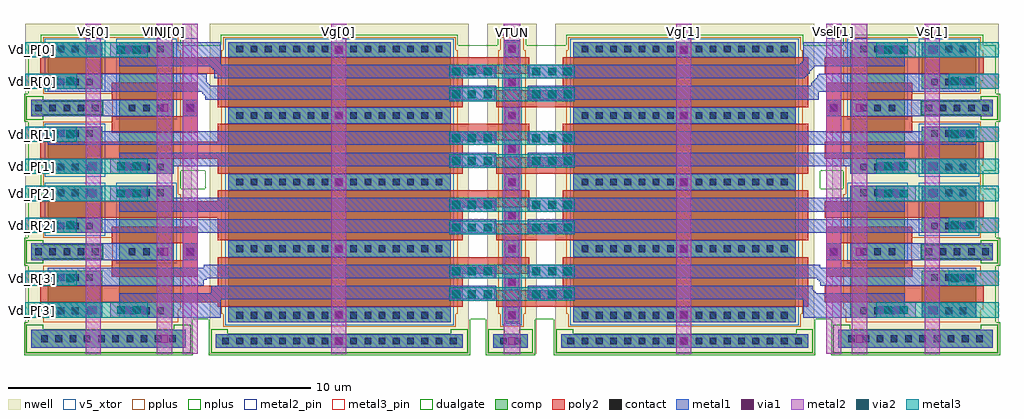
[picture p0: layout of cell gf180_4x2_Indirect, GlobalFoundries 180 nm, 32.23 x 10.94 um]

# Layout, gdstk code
import gdstk
lib = gdstk.Library(unit=1e-6, precision=1e-09)
def R(c, l, rs):  # rectangles x0, y0, x1, y1
    for r in rs: c.add(gdstk.rectangle(r[:2], r[2:], *l))
def A(c, l, x, y, w, h, nx, ny, dx, dy):  # array of equal rectangles
    R(c, l, [(x+i*dx, y+j*dy, x+i*dx+w, y+j*dy+h) for i in range(nx) for j in range(ny)])
nwell = (21, 0)
comp = (22, 0)
poly2 = (30, 0)
pplus = (31, 0)
nplus = (32, 0)
contact = (33, 0)
metal1 = (34, 0)
via1 = (35, 0)
metal2 = (36, 0)
metal2_pin = (36, 10)
via2 = (38, 0)
metal3 = (42, 0)
metal3_pin = (42, 10)
dualgate = (55, 0)
v5_xtor = (112, 1)

gf180_4x2_indirect = lib.new_cell('gf180_4x2_Indirect')
R(gf180_4x2_indirect, nwell, [(-1.05,-0.8,4.45,10.1), (5.05,-0.8,13.6,10.1), (14.2,-0.8,15.85,10.1), (16.45,-0.8,25,10.1), (25.6,-0.8,31.1,10.1)])
R(gf180_4x2_indirect, comp, [(-0.85,-0.6,4.25,0), (5.25,-0.6,13.4,-0.15), (14.4,-0.6,15.55,-0.15), (16.65,-0.6,24.8,-0.15), (25.8,-0.6,30.9,0), (5.65,0.25,13,9.5), (14.8,0.25,15.25,9.5), (17.05,0.25,24.4,9.5), (-0.3,0.4,1.5,1.95), (2.05,0.4,3.85,4.75), (26.2,0.4,28,4.75), (28.55,0.4,30.35,1.95), (-0.85,2.35,1.5,2.8), (28.55,2.35,30.9,2.8), (-0.3,3.2,1.5,4.75), (28.55,3.2,30.35,4.75), (-0.3,5.15,1.5,6.7), (2.05,5.15,3.85,9.5), (26.2,5.15,28,9.5), (28.55,5.15,30.35,6.7), (-0.85,7.1,1.5,7.55), (28.55,7.1,30.9,7.55), (-0.3,7.95,1.5,9.5), (28.55,7.95,30.35,9.5)])
A(gf180_4x2_indirect, poly2, 14.5, 0.75, 10.3, 0.55, 1, 4, 0, 2.2)
A(gf180_4x2_indirect, poly2, 16.7, 1.3, 8.1, 1.1, 1, 4, 0, 2.2)
R(gf180_4x2_indirect, poly2, [(5.3,0.75,13.4,0.9), (-0.55,0.9,13.4,1.45), (25.35,0.9,30.6,1.45), (5.3,1.45,13.4,1.85), (1.8,1.75,4.65,2.3), (25.4,1.75,28.25,2.3), (5.3,1.85,15.6,2.4), (4.15,2.3,4.65,2.85), (25.4,2.3,25.9,2.85), (1.8,2.85,4.65,3.4), (25.4,2.85,28.25,3.4), (5.3,2.95,13.4,3.7), (-0.55,3.7,13.4,4.05), (25.35,3.7,30.6,4.25), (-0.55,4.05,15.6,4.25), (5.3,4.25,15.6,4.6), (5.3,5.15,13.4,5.65), (-0.55,5.65,13.4,6.2), (25.35,5.65,30.6,6.2), (5.3,6.2,13.4,6.25), (5.3,6.25,15.6,6.8), (1.8,6.5,4.65,7.05), (25.4,6.5,28.25,7.05), (4.15,7.05,4.65,7.6), (25.4,7.05,25.9,7.6), (5.3,7.35,13.4,8.45), (1.8,7.6,4.65,8.15), (25.4,7.6,28.25,8.15), (-0.55,8.45,15.6,9), (25.35,8.45,30.6,9)])
R(gf180_4x2_indirect, pplus, [(5.49,0.09,13.16,0.52), (14.64,0.09,15.41,0.52), (16.89,0.09,24.56,0.52), (-0.46,0.24,4.01,0.67), (26.04,0.24,30.51,0.67), (5.42,0.52,13.23,9.23), (14.57,0.52,15.48,9.23), (16.82,0.52,24.63,9.23), (-0.53,0.67,4.08,1.68), (25.97,0.67,30.58,1.68), (-0.46,1.68,4.08,2.11), (25.97,1.68,30.51,2.11), (1.82,2.11,4.08,3.04), (25.97,2.11,28.23,3.04), (-0.46,3.04,4.08,3.47), (25.97,3.04,30.51,3.47), (-0.53,3.47,4.08,4.48), (25.97,3.47,30.58,4.48), (-0.46,4.48,4.01,5.42), (26.04,4.48,30.51,5.42), (-0.53,5.42,4.08,6.43), (25.97,5.42,30.58,6.43), (-0.46,6.43,4.08,6.86), (25.97,6.43,30.51,6.86), (1.82,6.86,4.08,7.79), (25.97,6.86,28.23,7.79), (-0.46,7.79,4.08,8.22), (25.97,7.79,30.51,8.22), (-0.53,8.22,4.08,9.23), (25.97,8.22,30.58,9.23), (-0.46,9.23,4.01,9.66), (5.49,9.23,13.16,9.66), (14.64,9.23,15.41,9.66), (16.89,9.23,24.56,9.66), (26.04,9.23,30.51,9.66)])
R(gf180_4x2_indirect, nplus, [(-1.01,-0.76,4.41,0.02), (5.09,-0.76,13.56,-0.13), (14.24,-0.76,15.71,-0.13), (16.49,-0.76,24.96,-0.13), (25.64,-0.76,31.06,0.02), (5.09,-0.13,5.64,0.01), (13.01,-0.13,13.56,0.01), (14.24,-0.13,14.79,0.01), (15.26,-0.13,15.71,0.01), (16.49,-0.13,17.04,0.01), (24.41,-0.13,24.96,0.01), (-1.01,0.02,-0.46,0.16), (3.86,0.02,4.41,0.16), (25.64,0.02,26.19,0.16), (30.51,0.02,31.06,0.16), (-1.01,2.19,-0.46,2.33), (30.51,2.19,31.06,2.33), (-1.01,2.33,1.52,2.82), (28.53,2.33,31.06,2.82), (-1.01,2.82,-0.46,2.96), (30.51,2.82,31.06,2.96), (-1.01,6.94,-0.46,7.08), (30.51,6.94,31.06,7.08), (-1.01,7.08,1.52,7.57), (28.53,7.08,31.06,7.57), (-1.01,7.57,-0.46,7.71), (30.51,7.57,31.06,7.71)])
A(gf180_4x2_indirect, contact, 5.455, -0.485, 0.22, 0.22, 17, 1, 0.47, 0)
A(gf180_4x2_indirect, contact, 16.855, -0.485, 0.22, 0.22, 17, 1, 0.47, 0)
A(gf180_4x2_indirect, contact, -0.525, -0.41, 0.22, 0.22, 10, 1, 0.47, 0)
A(gf180_4x2_indirect, contact, 26.125, -0.41, 0.22, 0.22, 10, 1, 0.47, 0)
A(gf180_4x2_indirect, contact, 5.925, 0.365, 0.22, 0.22, 15, 5, 0.47, 2.2)
A(gf180_4x2_indirect, contact, 14.915, 0.365, 0.22, 0.22, 1, 9, 0, 1.1)
A(gf180_4x2_indirect, contact, 17.325, 0.365, 0.22, 0.22, 15, 5, 0.47, 2.2)
A(gf180_4x2_indirect, contact, 0.02, 0.515, 0.22, 0.22, 3, 2, 0.47, 1.1)
A(gf180_4x2_indirect, contact, 2.37, 0.515, 0.22, 0.22, 3, 3, 0.47, 1.95)
A(gf180_4x2_indirect, contact, 26.52, 0.515, 0.22, 0.22, 3, 3, 0.47, 1.95)
A(gf180_4x2_indirect, contact, 28.87, 0.515, 0.22, 0.22, 3, 2, 0.47, 1.1)
A(gf180_4x2_indirect, contact, -0.725, 2.465, 0.22, 0.22, 5, 2, 0.47, 4.75)
A(gf180_4x2_indirect, contact, 28.675, 2.465, 0.22, 0.22, 5, 2, 0.47, 4.75)
A(gf180_4x2_indirect, contact, 0.02, 3.315, 0.22, 0.22, 3, 2, 0.47, 1.1)
A(gf180_4x2_indirect, contact, 28.87, 3.315, 0.22, 0.22, 3, 2, 0.47, 1.1)
A(gf180_4x2_indirect, contact, 0.02, 5.265, 0.22, 0.22, 3, 2, 0.47, 1.1)
A(gf180_4x2_indirect, contact, 2.37, 5.265, 0.22, 0.22, 3, 3, 0.47, 1.95)
A(gf180_4x2_indirect, contact, 26.52, 5.265, 0.22, 0.22, 3, 3, 0.47, 1.95)
A(gf180_4x2_indirect, contact, 28.87, 5.265, 0.22, 0.22, 3, 2, 0.47, 1.1)
A(gf180_4x2_indirect, contact, 0.02, 8.065, 0.22, 0.22, 3, 2, 0.47, 1.1)
A(gf180_4x2_indirect, contact, 28.87, 8.065, 0.22, 0.22, 3, 2, 0.47, 1.1)
R(gf180_4x2_indirect, contact, [(14.63,-0.485,14.85,-0.265), (15.1,-0.485,15.32,-0.265), (4.29,2.465,4.51,2.685), (25.54,2.465,25.76,2.685), (4.29,7.215,4.51,7.435), (25.54,7.215,25.76,7.435)])
A(gf180_4x2_indirect, metal1, 14.75, 0.2, 0.55, 0.55, 1, 9, 0, 1.1)
A(gf180_4x2_indirect, metal1, 5.65, 2.4, 7.35, 0.55, 1, 3, 0, 2.2)
A(gf180_4x2_indirect, metal1, 17.05, 2.4, 7.35, 0.55, 1, 3, 0, 2.2)
R(gf180_4x2_indirect, metal1, [(-0.85,-0.6,4.25,0), (5.25,-0.6,13.4,-0.15), (14.4,-0.6,15.55,-0.15), (16.65,-0.6,24.8,-0.15), (25.8,-0.6,30.9,0), (5.65,0.25,13,0.75), (17.05,0.25,24.4,0.75), (-0.3,0.4,1.5,0.9), (2.05,0.4,5.4,1), (24.65,0.4,28,1), (28.55,0.4,30.35,0.9), (2.05,1,14.5,1.2), (15.55,1,28,1.2), (5.1,1.2,14.5,1.45), (15.55,1.2,25.05,1.25), (15.55,1.25,25,1.3), (15.55,1.3,24.95,1.45), (-0.3,1.45,4.85,1.65), (25.2,1.45,30.35,1.6), (25.15,1.6,30.35,1.65), (-0.3,1.65,4.95,1.7), (25.1,1.65,30.35,1.7), (-0.3,1.7,14.5,2.05), (15.55,1.7,30.35,2.05), (4.85,2.05,14.5,2.15), (15.55,2.05,25.2,2.15), (-0.85,2.3,3.85,2.85), (4.15,2.3,4.65,2.85), (25.4,2.3,25.9,2.85), (26.2,2.3,30.9,2.85), (-0.3,3.2,14.5,3.65), (15.55,3.2,30.35,3.65), (-0.3,3.65,1.5,3.7), (28.55,3.65,30.35,3.7), (2.05,3.9,14.5,4.35), (15.55,3.9,28,4.35), (-0.3,4.25,1.5,4.75), (28.55,4.25,30.35,4.75), (2.05,4.35,3.85,4.75), (26.2,4.35,28,4.75), (-0.3,5.15,1.5,5.65), (2.05,5.15,3.85,5.4), (26.2,5.15,28,5.4), (28.55,5.15,30.35,5.65), (2.05,5.4,14.5,5.85), (15.55,5.4,28,5.85), (-0.3,6.1,14.5,6.55), (15.55,6.1,30.35,6.55), (-0.3,6.55,1.5,6.7), (28.55,6.55,30.35,6.7), (-0.85,7.05,3.85,7.6), (4.15,7.05,4.65,7.6), (25.4,7.05,25.9,7.6), (26.2,7.05,30.9,7.6), (4.9,7.6,14.5,7.75), (15.55,7.6,25.15,7.85), (4.85,7.75,14.5,7.8), (4.8,7.8,14.5,7.85), (-0.3,7.85,14.5,8.05), (15.55,7.85,30.35,8.05), (-0.3,8.05,5.05,8.1), (24.9,8.05,30.35,8.15), (-0.3,8.1,5,8.15), (-0.3,8.15,4.95,8.45), (24.95,8.15,30.35,8.2), (25,8.2,30.35,8.25), (25.05,8.25,30.35,8.3), (5.2,8.3,14.5,8.6), (15.55,8.3,24.7,8.35), (25.1,8.3,30.35,8.4), (15.55,8.35,24.75,8.4), (15.55,8.4,24.8,8.45), (25.15,8.4,30.35,8.45), (15.55,8.45,24.85,8.55), (15.55,8.55,24.9,8.6), (5.15,8.6,14.5,8.65), (15.55,8.6,24.95,8.65), (5.1,8.65,14.5,8.7), (15.55,8.65,25,8.7), (2.05,8.7,14.5,8.75), (15.55,8.7,28,8.75), (2.05,8.75,5.4,9.5), (24.55,8.75,28,8.8), (24.6,8.8,28,8.85), (24.65,8.85,28,9.5), (-0.3,9,1.5,9.5), (5.65,9,13,9.5), (17.05,9,24.4,9.5), (28.55,9,30.35,9.5)])
A(gf180_4x2_indirect, via1, 14.895, 0.345, 0.26, 0.26, 1, 9, 0, 1.1)
A(gf180_4x2_indirect, via1, 13.05, 1.045, 0.26, 0.26, 3, 2, 0.52, 0.75)
A(gf180_4x2_indirect, via1, 15.7, 1.045, 0.26, 0.26, 3, 2, 0.52, 0.75)
A(gf180_4x2_indirect, via1, 9.17, 2.545, 0.26, 0.26, 1, 3, 0, 2.2)
A(gf180_4x2_indirect, via1, 20.57, 2.545, 0.26, 0.26, 1, 3, 0, 2.2)
A(gf180_4x2_indirect, via1, 13.05, 3.245, 0.26, 0.26, 3, 2, 0.52, 0.75)
A(gf180_4x2_indirect, via1, 15.7, 3.245, 0.26, 0.26, 3, 2, 0.52, 0.75)
A(gf180_4x2_indirect, via1, 13.05, 5.445, 0.26, 0.26, 3, 2, 0.52, 0.75)
A(gf180_4x2_indirect, via1, 15.7, 5.445, 0.26, 0.26, 3, 2, 0.52, 0.75)
A(gf180_4x2_indirect, via1, 13.05, 7.645, 0.26, 0.26, 3, 2, 0.52, 0.75)
A(gf180_4x2_indirect, via1, 15.7, 7.645, 0.26, 0.26, 3, 2, 0.52, 0.75)
R(gf180_4x2_indirect, via1, [(9.17,-0.505,9.43,-0.245), (14.895,-0.505,15.155,-0.245), (20.57,-0.505,20.83,-0.245), (3.42,-0.43,3.68,-0.17), (26.37,-0.43,26.63,-0.17), (9.17,0.37,9.43,0.63), (20.57,0.37,20.83,0.63), (1.045,0.52,1.305,0.78), (2.135,0.52,2.395,0.78), (2.655,0.52,2.915,0.78), (27.135,0.52,27.395,0.78), (27.655,0.52,27.915,0.78), (28.77,0.52,29.03,0.78), (-0.215,1.57,0.045,1.83), (0.305,1.57,0.565,1.83), (29.51,1.57,29.77,1.83), (30.03,1.57,30.29,1.83), (3.42,2.445,3.68,2.705), (4.27,2.445,4.53,2.705), (25.52,2.445,25.78,2.705), (26.37,2.445,26.63,2.705), (-0.215,3.32,0.045,3.58), (0.305,3.32,0.565,3.58), (29.51,3.32,29.77,3.58), (30.03,3.32,30.29,3.58), (1.045,4.37,1.305,4.63), (2.135,4.37,2.395,4.63), (2.655,4.37,2.915,4.63), (27.135,4.37,27.395,4.63), (27.655,4.37,27.915,4.63), (28.77,4.37,29.03,4.63), (1.045,5.27,1.305,5.53), (2.135,5.27,2.395,5.53), (2.655,5.27,2.915,5.53), (27.135,5.27,27.395,5.53), (27.655,5.27,27.915,5.53), (28.77,5.27,29.03,5.53), (-0.215,6.32,0.045,6.58), (0.305,6.32,0.565,6.58), (29.51,6.32,29.77,6.58), (30.03,6.32,30.29,6.58), (3.42,7.195,3.68,7.455), (4.27,7.195,4.53,7.455), (25.52,7.195,25.78,7.455), (26.37,7.195,26.63,7.455), (-0.215,8.07,0.045,8.33), (0.305,8.07,0.565,8.33), (29.51,8.07,29.77,8.33), (30.03,8.07,30.29,8.33), (1.045,9.12,1.305,9.38), (2.135,9.12,2.395,9.38), (2.655,9.12,2.915,9.38), (9.17,9.12,9.43,9.38), (20.57,9.12,20.83,9.38), (27.135,9.12,27.395,9.38), (27.655,9.12,27.915,9.38), (28.77,9.12,29.03,9.38)])
R(gf180_4x2_indirect, metal2, [(0.95,-0.8,1.45,10.1), (3.3,-0.8,3.8,10.1), (4.15,-0.8,4.65,10.1), (9.05,-0.8,9.55,10.1), (14.75,-0.8,15.3,10.1), (20.45,-0.8,20.95,10.1), (25.4,-0.8,25.9,10.1), (26.25,-0.8,26.75,10.1), (28.65,-0.8,29.15,10.1), (1.75,0.4,3,0.9), (27.05,0.4,28.35,0.9), (12.95,0.95,14.45,1.4), (15.6,0.95,17.1,1.4), (-1.05,1.45,0.65,1.95), (29.45,1.45,31.1,1.95), (12.95,1.7,14.45,2.15), (15.6,1.7,17.1,2.15), (12.95,3.15,14.45,3.6), (15.6,3.15,17.1,3.6), (-1.05,3.2,0.65,3.7), (29.45,3.2,31.1,3.7), (12.95,3.9,14.45,4.35), (15.6,3.9,17.1,4.35), (1.75,4.25,3,4.75), (27.05,4.25,28.35,4.75), (1.75,5.15,3,5.65), (27.05,5.15,28.35,5.65), (12.95,5.35,14.45,5.8), (15.6,5.35,17.1,5.8), (12.95,6.1,14.45,6.55), (15.6,6.1,17.1,6.55), (-1.05,6.2,0.65,6.7), (29.45,6.2,31.1,6.7), (12.95,7.55,14.45,8), (15.6,7.55,17.1,8), (-1.05,7.95,0.65,8.45), (29.45,7.95,31.1,8.45), (12.95,8.3,14.45,8.75), (15.6,8.3,17.1,8.75), (1.75,9,3,9.5), (27.05,9,28.35,9.5)])
R(gf180_4x2_indirect, metal2_pin, [(14.75,9.55,15.3,10.1), (0.95,9.6,1.45,10.1), (3.3,9.6,3.8,10.1), (4.15,9.6,4.65,10.1), (9.05,9.6,9.55,10.1), (20.45,9.6,20.95,10.1), (25.4,9.6,25.9,10.1), (26.25,9.6,26.75,10.1), (28.65,9.6,29.15,10.1)])
A(gf180_4x2_indirect, via2, 13.05, 1.045, 0.26, 0.26, 3, 2, 0.52, 0.75)
A(gf180_4x2_indirect, via2, 15.7, 1.045, 0.26, 0.26, 3, 2, 0.52, 0.75)
A(gf180_4x2_indirect, via2, 13.05, 3.245, 0.26, 0.26, 3, 2, 0.52, 0.75)
A(gf180_4x2_indirect, via2, 15.7, 3.245, 0.26, 0.26, 3, 2, 0.52, 0.75)
A(gf180_4x2_indirect, via2, 13.05, 5.445, 0.26, 0.26, 3, 2, 0.52, 0.75)
A(gf180_4x2_indirect, via2, 15.7, 5.445, 0.26, 0.26, 3, 2, 0.52, 0.75)
A(gf180_4x2_indirect, via2, 13.05, 7.645, 0.26, 0.26, 3, 2, 0.52, 0.75)
A(gf180_4x2_indirect, via2, 15.7, 7.645, 0.26, 0.26, 3, 2, 0.52, 0.75)
R(gf180_4x2_indirect, via2, [(1.985,0.52,2.245,0.78), (2.505,0.52,2.765,0.78), (27.31,0.52,27.57,0.78), (27.83,0.52,28.09,0.78), (-0.215,1.57,0.045,1.83), (0.305,1.57,0.565,1.83), (29.51,1.57,29.77,1.83), (30.03,1.57,30.29,1.83), (-0.215,3.32,0.045,3.58), (0.305,3.32,0.565,3.58), (29.51,3.32,29.77,3.58), (30.03,3.32,30.29,3.58), (1.985,4.37,2.245,4.63), (2.505,4.37,2.765,4.63), (27.31,4.37,27.57,4.63), (27.83,4.37,28.09,4.63), (1.985,5.27,2.245,5.53), (2.505,5.27,2.765,5.53), (27.31,5.27,27.57,5.53), (27.83,5.27,28.09,5.53), (-0.215,6.32,0.045,6.58), (0.305,6.32,0.565,6.58), (29.51,6.32,29.77,6.58), (30.03,6.32,30.29,6.58), (-0.215,8.07,0.045,8.33), (0.305,8.07,0.565,8.33), (29.51,8.07,29.77,8.33), (30.03,8.07,30.29,8.33), (1.985,9.12,2.245,9.38), (2.505,9.12,2.765,9.38), (27.31,9.12,27.57,9.38), (27.83,9.12,28.09,9.38)])
R(gf180_4x2_indirect, metal3, [(-1.05,0.4,3,0.9), (27.05,0.4,31.1,0.9), (12.95,0.95,17.1,1.4), (-1.05,1.45,0.65,1.95), (29.45,1.45,31.1,1.95), (12.95,1.7,17.1,2.15), (12.95,3.15,17.1,3.6), (-1.05,3.2,0.65,3.7), (29.45,3.2,31.1,3.7), (12.95,3.9,17.1,4.35), (-1.05,4.25,3,4.75), (27.05,4.25,31.1,4.75), (-1.05,5.15,3,5.65), (27.05,5.15,31.1,5.65), (12.95,5.35,17.1,5.8), (12.95,6.1,17.1,6.55), (-1.05,6.2,0.65,6.7), (29.45,6.2,31.1,6.7), (12.95,7.55,17.1,8), (-1.05,7.95,0.65,8.45), (29.45,7.95,31.1,8.45), (12.95,8.3,17.1,8.75), (-1.05,9,3,9.5), (27.05,9,31.1,9.5)])
R(gf180_4x2_indirect, metal3_pin, [(-1.05,0.4,-0.55,0.9), (-1.05,1.45,-0.55,1.95), (-1.05,3.2,-0.55,3.7), (-1.05,4.25,-0.55,4.75), (-1.05,5.15,-0.55,5.65), (-1.05,6.2,-0.55,6.7), (-1.05,7.95,-0.55,8.45), (-1.05,9,-0.55,9.5)])
R(gf180_4x2_indirect, dualgate, [(-1.09,-0.84,4.49,0.24), (5.01,-0.84,13.64,0.35), (14.16,-0.84,15.79,0.35), (16.41,-0.84,25.04,0.35), (25.56,-0.84,31.14,0.24), (-0.95,0.24,4.49,0.35), (25.56,0.24,31,0.35), (-0.95,0.35,31,2.11), (-1.09,2.11,31.14,3.04), (-0.95,3.04,31,4.65), (-0.54,4.65,4.09,5.25), (4.9,4.65,25.2,5.25), (25.96,4.65,30.59,5.25), (-0.95,5.25,31,6.86), (-1.09,6.86,31.14,7.79), (-0.95,7.79,31,9.4), (-0.54,9.4,4.09,9.74), (5.41,9.4,13.24,9.74), (14.56,9.4,15.49,9.74), (16.81,9.4,24.64,9.74), (25.96,9.4,30.59,9.74)])
R(gf180_4x2_indirect, v5_xtor, [(5.55,0.15,13.1,9.6), (14.7,0.15,15.35,8.55), (16.95,0.15,24.5,9.6), (1.95,2.2,3.95,4.85), (26.1,2.2,28.1,4.85), (-0.4,3.1,1.6,4.85), (28.45,3.1,30.45,4.85), (-0.4,5.05,1.6,6.8), (28.45,5.05,30.45,6.8), (1.95,6.95,3.95,9.6), (26.1,6.95,28.1,9.6), (-0.4,7.85,1.6,9.6), (28.45,7.85,30.45,9.6)])
gf180_4x2_indirect.add(gdstk.Label('VTUN', (15.025,9.825), layer=36, texttype=10))
gf180_4x2_indirect.add(gdstk.Label('Vd_P[0]', (-0.8,9.25), layer=42, texttype=10))
gf180_4x2_indirect.add(gdstk.Label('Vd_R[0]', (-0.8,8.2), layer=42, texttype=10))
gf180_4x2_indirect.add(gdstk.Label('Vd_R[1]', (-0.8,6.45), layer=42, texttype=10))
gf180_4x2_indirect.add(gdstk.Label('Vd_P[1]', (-0.8,5.4), layer=42, texttype=10))
gf180_4x2_indirect.add(gdstk.Label('Vd_P[2]', (-0.8,4.5), layer=42, texttype=10))
gf180_4x2_indirect.add(gdstk.Label('Vd_R[2]', (-0.8,3.45), layer=42, texttype=10))
gf180_4x2_indirect.add(gdstk.Label('Vd_R[3]', (-0.8,1.7), layer=42, texttype=10))
gf180_4x2_indirect.add(gdstk.Label('Vd_P[3]', (-0.8,0.65), layer=42, texttype=10))
gf180_4x2_indirect.add(gdstk.Label('Vs[0]', (1.2,9.85), layer=36, texttype=10))
gf180_4x2_indirect.add(gdstk.Label('VINJ[0]', (3.55,9.85), layer=36, texttype=10))
gf180_4x2_indirect.add(gdstk.Label('Vsel[0]', (4.4,9.85), layer=36, texttype=10))
gf180_4x2_indirect.add(gdstk.Label('Vg[0]', (9.3,9.85), layer=36, texttype=10))
gf180_4x2_indirect.add(gdstk.Label('Vg[1]', (20.7,9.85), layer=36, texttype=10))
gf180_4x2_indirect.add(gdstk.Label('Vsel[1]', (25.65,9.85), layer=36, texttype=10))
gf180_4x2_indirect.add(gdstk.Label('VINJ[1]', (26.5,9.85), layer=36, texttype=10))
gf180_4x2_indirect.add(gdstk.Label('Vs[1]', (28.9,9.85), layer=36, texttype=10))

lib.write_gds('gf180_4x2_Indirect.gds')
